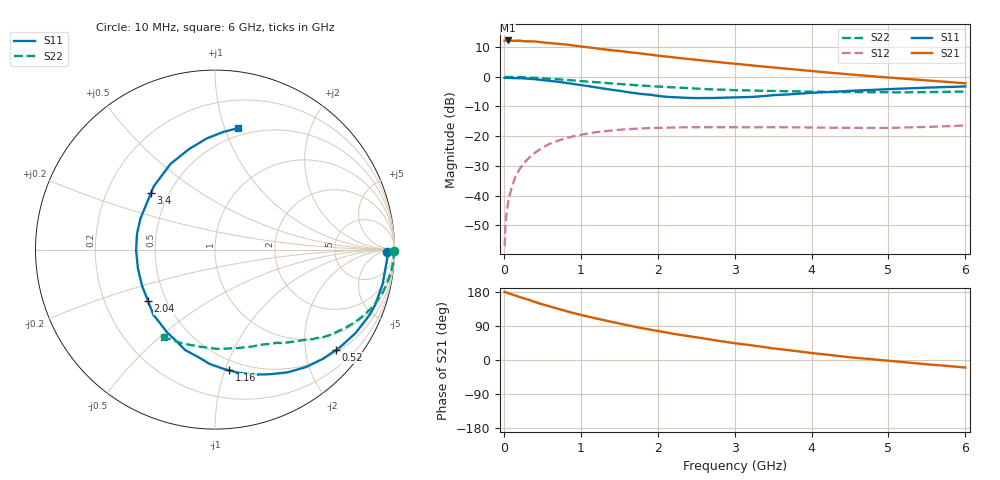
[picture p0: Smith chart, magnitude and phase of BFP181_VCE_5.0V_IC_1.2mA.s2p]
! Infineon Technologies  Discrete & RF Semiconductors
! BFP181
! VCE = 5.0 V,  IC =  1.2 mA
! Common Emitter S-Parameters:  Jan 2016
# GHz  S  MA  R  50
!  f  S11  S21  S12  S22
! GHz  MAG  ANG  MAG  ANG  MAG  ANG  MAG  ANG
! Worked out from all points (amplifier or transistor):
!   210 points, 10 MHz to 6 GHz, reference 50 ohm
!   highest |S21| = 12.3 dB at 50 MHz (marker M1)
!   |S21| within 3 dB of that: start of sweep to 1.304 GHz
!   unconditionally stable (mu >= 1): 2.966 GHz to end of sweep
!   at 185 MHz: K = 0.09, MSG = 22.1 dB, |S12| = -32.0 dB
!   at 1.52 GHz: K = 0.55, MSG = 13.2 dB, |S12| = -17.8 dB
!   at 6 GHz: K = 1.23, MAG = 4.2 dB, |S12| = -16.4 dB
!   S11 on the Smith chart (normalised r, x): 10 MHz: 43, -14; 520 MHz: 0.55, -2.68; 1.16 GHz: 0.42, -1.03; 2.04 GHz: 0.40, -0.29; 3.4 GHz: 0.40, +0.33; 6 GHz: 0.43, +1.11
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0.01  0.9591 -0.8  4.054 179.5  0.0014 92.0  0.9973 -0.3
0.025  0.9629 -1.9  4.071 178.8  0.0036 93.4  0.9915 -0.9
0.05  0.9593 -3.7  4.099 176.6  0.007 91.4  0.9967 -1.8
0.115  0.9534 -8.9  4.04 172.4  0.0154 83.0  0.994 -4.1
0.2  0.9467 -15.2  4.064 166.5  0.0272 79.8  0.989 -7.2
0.4  0.9112 -30.6  3.946 153.3  0.052 70.2  0.9653 -14.1
0.52  0.8767 -39.6  3.786 145.8  0.0659 64.4  0.9453 -18.0
0.8  0.7941 -59.5  3.515 129.5  0.092 53.0  0.891 -25.8
0.9  0.7584 -66.3  3.396 124.0  0.0994 49.0  0.868 -28.5
1.02  0.7214 -74.3  3.224 118.1  0.1067 44.8  0.8439 -31.3
1.16  0.6773 -83.3  3.066 111.4  0.1148 40.3  0.8173 -34.3
1.58  0.5592 -111.5  2.643 92.9  0.1305 29.6  0.7459 -41.7
1.8  0.5111 -126.8  2.456 83.8  0.135 25.4  0.7102 -45.1
2.02  0.4741 -141.0  2.262 75.9  0.1383 21.3  0.6834 -48.3
2.04  0.4708 -142.3  2.246 75.2  0.1384 21.0  0.6811 -48.6
2.2  0.4541 -153.5  2.132 69.3  0.1399 18.4  0.6631 -51.0
2.56  0.4382 -177.0  1.896 58.0  0.1413 13.9  0.6269 -56.0
3.1  0.4521 152.3  1.615 41.9  0.1414 8.6  0.5912 -63.7
3.4  0.4767 138.2  1.478 33.7  0.1416 6.6  0.5797 -68.2
4.1  0.5444 114.5  1.219 16.3  0.1394 3.4  0.5578 -80.8
5.1  0.6274 92.5  0.951 -4.0  0.1385 3.3  0.5472 -101.1
6  0.6884 79.3  0.777 -19.9  0.1512 4.1  0.5653 -120.5
